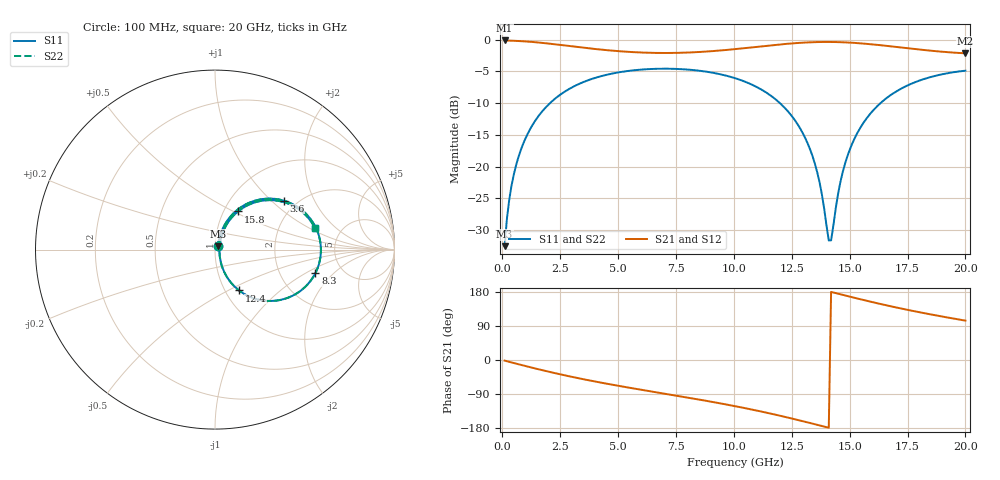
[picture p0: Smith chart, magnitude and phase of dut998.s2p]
! Touchstone file exported from HFSS 2026.1.0
!  File:  C:/ffzhzh/LocalFiles/Ansys_Project_Files/temp_train_TSV_RDL_998_1783289584_30076.aedt
!  Generated:  06:24:21 AM Jul  6, 2026
!  Design:  TSV_RDL
!  Project:  temp_train_TSV_RDL_998_1783289584_30076
! Variables:
!  h_bsmrdl = 5.17um
!  h_ox = 20um
!  h_rdl = 5um
!  h_sub = 61.02um
!  h_tmrdl = 4.2um
!  h_tsv = 61.02um
!  h_via = 3um
!  l_bsmrdl = 804.87um
!  l_sub = 4520.4um
!  l_tmrdl = 394.37um
!  m_sub = 200um
!  pitch = 55.96um
!  r_tsv = 9.86um
!  s_tmrdl = 10um
!  w_bsmrdl = 18.97um
!  w_sub = 500um
!  w_tmrdl = 23.8um
!  x_tsv_center1 = 406.27um
!  x_tsv_center2 = 1230.11um
!  x_tsv_center3 = 1648.28um
!  x_tsv_center4 = 2472.12um
!  x_tsv_center5 = 2890.29um
!  x_tsv_center6 = 3714.13um
# GHz S MA R 50.000000
! Terminal data exported
! Port[1] = TM_RDL1_1_T1
! Port[2] = TM_RDL5_1_T1
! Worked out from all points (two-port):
!   200 points, 100 MHz to 20 GHz, reference 50 ohm
!   highest |S21| = -0.14 dB at 100 MHz (marker M1); lowest = -2.2 dB at 20 GHz (marker M2)
!   |S21| within 3 dB of the highest: start of sweep to end of sweep
!   lowest |S11| = -32.5 dB at 100 MHz (marker M3), VSWR 1.05, Z = 51.6 + j1.8 ohm
!   |S11| at or under -10 dB: start of sweep to 2.061 GHz; 11.99 GHz to 16.33 GHz (4.345 GHz wide, 30.7 % of centre)
!   |S22| runs from -32.5 to -4.6 dB; largest |S21 - S12| = 1.6e-14
!   S11 on the Smith chart (normalised r, x): 100 MHz: 1.03, +0.04; 3.6 GHz: 1.71, +1.20; 8.3 GHz: 3.17, -1.24; 12.4 GHz: 1.16, -0.57; 15.8 GHz: 1.17, +0.53; 20 GHz: 3.19, +1.15
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0.1  0.02366 47.6  0.9844 -1.7  0.9844 -1.7  0.02366 47.6
! Gamma 0 0 0 0
! Port Impedance 50 0 50 0
0.3  0.05493 67.2  0.9818 -4.9  0.9818 -4.9  0.05493 67.2
0.5  0.0872 70.1  0.9786 -8.1  0.9786 -8.1  0.0872 70.1
1.1  0.1818 66.5  0.9644 -17.4  0.9644 -17.4  0.1818 66.5
2.1  0.3212 54.1  0.9263 -32.2  0.9263 -32.2  0.3212 54.1
3.5  0.463 36.6  0.8638 -50.7  0.8638 -50.7  0.463 36.6
3.6  0.4707 35.4  0.8596 -51.9  0.8596 -51.9  0.4708 35.4
5.2  0.5587 17.8  0.8063 -70.1  0.8063 -70.1  0.5587 17.8
6.8  0.5898 1.7  0.7846 -86.8  0.7846 -86.8  0.5898 1.7
8.3  0.5744 -13.2  0.795 -102.3  0.795 -102.3  0.5744 -13.2
10.1  0.4937 -32.3  0.843 -122.4  0.843 -122.4  0.4937 -32.3
12.4  0.264 -59.5  0.9296 -152.9  0.9296 -152.9  0.264 -59.6
13.4  0.1206 -67.6  0.9537 -167.9  0.9537 -167.9  0.1205 -67.8
13.8  0.06086 -61.4  0.9576 -174.1  0.9576 -174.1  0.06069 -61.8
14.1  0.02624 -17.8  0.9581 -178.8  0.9581 -178.8  0.0258 -18.1
14.2  0.02625 15.9  0.9578 179.7  0.9578 179.7  0.0258 16.2
14.5  0.06079 59.5  0.9554 175.0  0.9554 175.0  0.06059 59.8
14.8  0.1052 65.5  0.951 170.4  0.951 170.4  0.1051 65.7
15.8  0.2487 58.8  0.9235 155.4  0.9235 155.4  0.2487 58.9
16.7  0.358 48.3  0.8884 142.8  0.8884 142.8  0.3579 48.4
18.2  0.4884 31.1  0.8283 123.8  0.8283 123.8  0.4884 31.1
20  0.5693 12.3  0.7796 103.9  0.7796 103.9  0.5694 12.3
